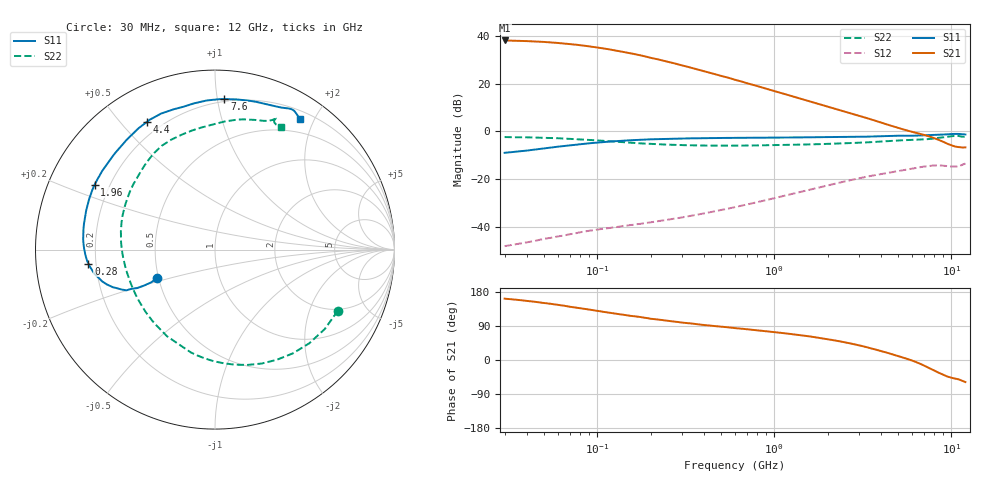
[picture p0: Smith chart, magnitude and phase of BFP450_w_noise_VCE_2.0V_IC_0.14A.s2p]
! (c) 2015  Infineon Technologies AG, Munich
! Infineon Technologies  Discrete & RF Semiconductors
! BFP450
! VCE =  2.0 V,  IC = 0.14 A
! Common Emitter S-Parameters:  Nov 2015
# GHz  S  MA  R  50
!  f  S11  S21  S12  S22
! GHz  MAG  ANG  MAG  ANG  MAG  ANG  MAG  ANG
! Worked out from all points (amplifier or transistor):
!   239 points, 30 MHz to 12 GHz, reference 50 ohm
!   highest |S21| = 38.1 dB at 30 MHz (marker M1)
!   |S21| within 3 dB of that: start of sweep to 101.4 MHz
!   unconditionally stable (mu >= 1): 734.5 MHz to end of sweep
!   at 300 MHz: K = 0.79, MSG = 31.8 dB, |S12| = -36.0 dB
!   at 1.88 GHz: K = 1.10, MAG = 15.1 dB, |S12| = -23.0 dB
!   at 12 GHz: K = 1.08, MAG = 1.6 dB, |S12| = -13.4 dB
!   lowest NFmin = 2.52 dB at 450 MHz
!   S11 on the Smith chart (normalised r, x): 30 MHz: 0.49, -0.18; 280 MHz: 0.17, -0.05; 1.96 GHz: 0.14, +0.25; 4.4 GHz: 0.15, +0.59; 7.6 GHz: 0.18, +1.05; 12 GHz: 0.31, +1.80
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0.03  0.3579 -154.1  80.06 161.9  0.004 82.1  0.7645 -26.5
0.04  0.3986 -152.8  77.63 156.0  0.0048 76.5  0.755 -35.9
0.05  0.4439 -153.1  74.61 150.4  0.0057 71.6  0.7404 -44.9
0.06  0.481 -153.6  70.98 145.6  0.0064 69.0  0.7229 -53.1
0.07  0.5133 -154.8  67.33 140.6  0.0071 67.3  0.7039 -60.7
0.085  0.555 -156.1  62.08 134.9  0.0081 64.1  0.6758 -70.9
0.11  0.6044 -159.6  54.15 126.6  0.0093 60.8  0.6356 -85.5
0.13  0.6317 -162.0  48.61 121.4  0.0101 59.3  0.6094 -95.2
0.15  0.6535 -164.3  43.89 117.1  0.0109 58.2  0.5882 -103.3
0.2  0.686 -168.8  34.76 108.9  0.0126 57.8  0.5519 -118.9
0.24  0.6994 -171.5  29.85 104.5  0.014 58.5  0.5337 -127.8
0.28  0.7096 -173.7  25.94 100.8  0.0153 59.2  0.5227 -135.0
0.3  0.7143 -174.7  24.15 98.9  0.0159 59.5  0.5193 -138.4
0.4  0.7252 -178.7  18.25 92.4  0.0193 61.3  0.5087 -150.0
0.6  0.7367 175.6  12.05 84.1  0.0262 63.3  0.5064 -163.9
1  0.7448 167.4  6.99 73.5  0.0403 63.0  0.5181 -179.0
1.64  0.7571 156.6  4.116 61.3  0.0628 57.7  0.5388 166.0
1.96  0.7621 151.6  3.395 55.7  0.0735 54.3  0.5489 159.8
4.4  0.8069 117.9  1.378 18.3  0.1366 25.6  0.6316 123.5
4.5  0.8097 116.8  1.34 16.8  0.1387 24.6  0.6358 122.4
7.6  0.8405 86.4  0.776 -22.6  0.1917 -8.9  0.699 90.4
12  0.8653 56.9  0.465 -58.2  0.214 -40.9  0.777 61.7
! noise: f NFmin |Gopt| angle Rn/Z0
0.45  2.52  0.68  -171  0.07
0.9  2.56  0.71  -165  0.09
1.9  2.65  0.72  -149  0.21
2.4  2.73  0.72  -139  0.32
